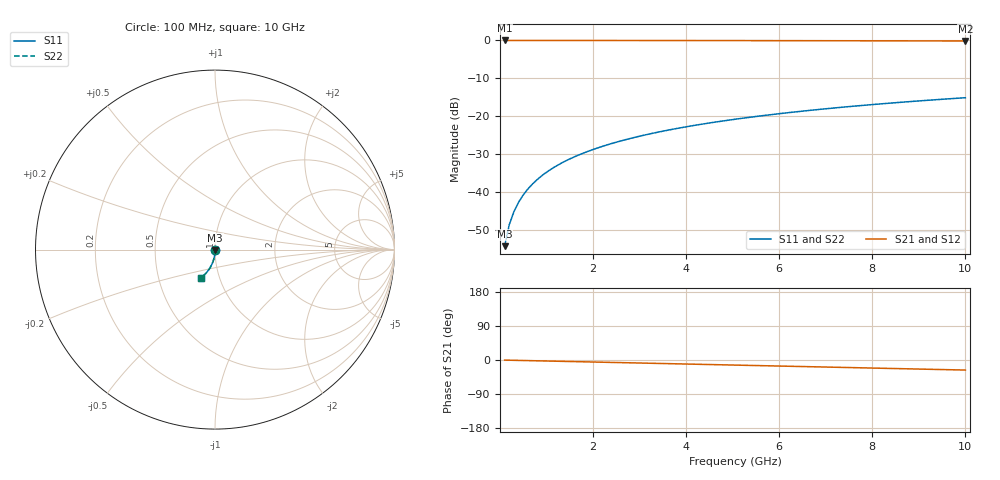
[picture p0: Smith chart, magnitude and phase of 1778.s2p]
# Hz S RI R 50.00
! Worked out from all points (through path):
!   100 points, 100 MHz to 10 GHz, reference 50 ohm
!   highest |S21| = -0.01 dB at 100 MHz (marker M1); lowest = -0.1 dB at 10 GHz (marker M2)
!   group delay of S21, straight-line fit = 7.38 ps
!   lowest |S11| = -54.4 dB at 100 MHz (marker M3), VSWR 1.00, Z = 50.1 - j0.181 ohm
!   |S11| at or under -10 dB: start of sweep to end of sweep
!   |S22| runs from -54.4 to -15.1 dB; largest |S21 - S12| = 0
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1e8  0.0006 -0.00181  0.9994 -0.00462  0.9994 -0.00462  0.0006 -0.00181
2e8  0.000576 -0.00362  0.9993 -0.00925  0.9993 -0.00925  0.000576 -0.00362
3e8  0.000534 -0.00543  0.9993 -0.0139  0.9993 -0.0139  0.000534 -0.00543
4e8  0.000475 -0.00724  0.9992 -0.0185  0.9992 -0.0185  0.000475 -0.00724
5e8  0.000399 -0.00905  0.9991 -0.0231  0.9991 -0.0231  0.000399 -0.00905
6e8  0.000305 -0.0109  0.9989 -0.0277  0.9989 -0.0277  0.000305 -0.0109
7e8  0.000195 -0.0127  0.9987 -0.0324  0.9987 -0.0324  0.000195 -0.0127
8e8  6.79e-05 -0.0145  0.9986 -0.037  0.9986 -0.037  6.79e-05 -0.0145
9e8  -7.6e-05 -0.0163  0.9983 -0.0416  0.9983 -0.0416  -7.6e-05 -0.0163
1.1e9  -0.000414 -0.0199  0.9978 -0.0509  0.9978 -0.0509  -0.000414 -0.0199
1.4e9  -0.00105 -0.0253  0.9969 -0.0647  0.9969 -0.0647  -0.00105 -0.0253
1.8e9  -0.00213 -0.0325  0.9953 -0.0832  0.9953 -0.0832  -0.00213 -0.0325
2.1e9  -0.00311 -0.0378  0.9938 -0.097  0.9938 -0.097  -0.00311 -0.0378
2.5e9  -0.00465 -0.0449  0.9916 -0.1154  0.9916 -0.1154  -0.00465 -0.0449
2.9e9  -0.00646 -0.052  0.9889 -0.1337  0.9889 -0.1337  -0.00646 -0.052
3.4e9  -0.00909 -0.0607  0.985 -0.1565  0.985 -0.1565  -0.00909 -0.0607
4.2e9  -0.0141 -0.0744  0.9775 -0.1928  0.9775 -0.1928  -0.0141 -0.0744
5.1e9  -0.021 -0.0893  0.9673 -0.2331  0.9673 -0.2331  -0.021 -0.0893
5.9e9  -0.0281 -0.102  0.9566 -0.2685  0.9566 -0.2685  -0.0281 -0.102
6.7e9  -0.0361 -0.1141  0.9444 -0.3033  0.9444 -0.3033  -0.0361 -0.1141
8.4e9  -0.056 -0.1377  0.9139 -0.3751  0.9139 -0.3751  -0.056 -0.1377
1e10  -0.0778 -0.1566  0.8798 -0.4396  0.8798 -0.4396  -0.0778 -0.1566
